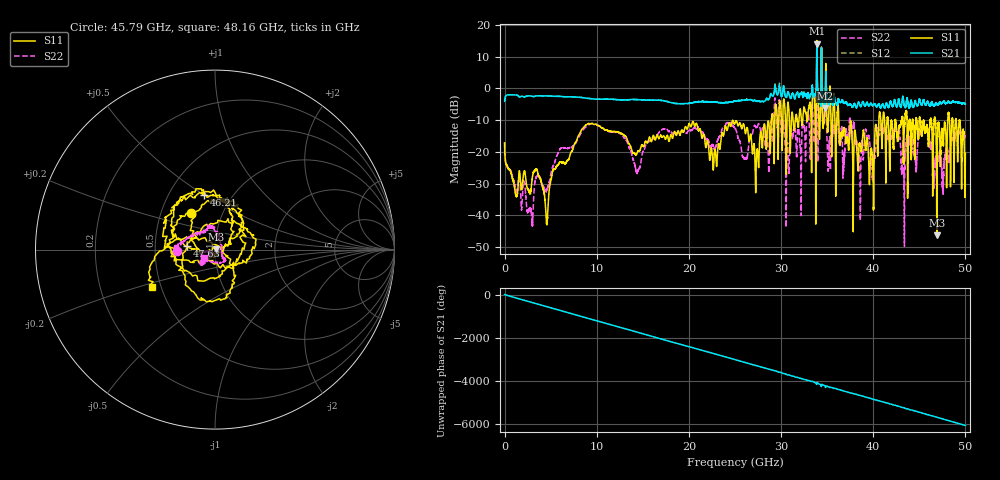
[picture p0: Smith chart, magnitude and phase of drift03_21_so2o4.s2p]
!Created with skrf (http://scikit-rf.org).
# Hz S RI R 50.0
!freq ReS11 ImS11 ReS21 ImS21 ReS12 ImS12 ReS22 ImS22
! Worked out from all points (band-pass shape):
!   10001 points, 300 kHz to 50 GHz, reference 50 ohm
!   highest |S21| = 14.16 dB at 33.88 GHz (marker M1); lowest = -6.3 dB at 34.79 GHz (marker M2)
!   |S21| within 3 dB of the highest: 33.8696 GHz to 33.889 GHz (19.4 MHz wide, 0.0573 % of centre); 34.37689 GHz to 34.39058 GHz (13.68 MHz wide, 0.0398 % of centre)
!   lowest |S11| = -46.3 dB at 46.9 GHz (marker M3), VSWR 1.01, Z = 50.5 + j0.0707 ohm
!   |S11| at or under -10 dB: start of sweep to 28.94 GHz; 36.27 GHz to 40.61 GHz (4.342 GHz wide, 11.3 % of centre); 46.74 GHz to 48.09 GHz (1.341 GHz wide, 2.83 % of centre) (the widest 3 of 54)
!   |S22| runs from -49.7 to 10.7 dB; largest |S21 - S12| = 0.82
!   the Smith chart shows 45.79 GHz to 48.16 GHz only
!   S11 on the Smith chart (normalised r, x): 45.79 GHz: 0.71, +0.31; 46.21 GHz: 0.74, +0.50; 47.63 GHz: 0.73, +0.03; 48.16 GHz: 0.44, -0.22
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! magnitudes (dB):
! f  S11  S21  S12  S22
! 300 kHz  -17.2  -4.0  -4.0  -17.0
! 2.825 GHz  -32.7  -2.4  -2.4  -38.4
! 4.565 GHz  -41.9  -2.3  -2.3  -32.0
! 8.335 GHz  -13.1  -2.8  -2.8  -13.9
! 14.43 GHz  -20.0  -3.5  -3.5  -26.4
! 16.67 GHz  -15.5  -3.7  -3.7  -14.3
! 22.82 GHz  -19.3  -4.3  -4.3  -19.0
! 25 GHz  -11.0  -4.0  -4.0  -12.6
! 27.39 GHz  -19.4  -4.1  -4.1  -12.3
! 29.6 GHz  -10.4  -2.0  -2.1  -11.7
! 30.7 GHz  -5.6  -1.4  -1.5  -17.1
! 33.34 GHz  -13.8  -0.5  -0.6  -7.3
! 33.88 GHz  15.1  14.2  13.8  10.7
! 34.79 GHz  -3.1  -6.3  -4.9  -8.6
! 39.81 GHz  -19.2  -5.0  -4.8  -23.8
! 41.67 GHz  -12.3  -6.0  -6.0  -15.3
! 45.79 GHz  -12.2  -5.0  -4.9  -13.5
! 46.21 GHz  -10.1  -5.4  -5.4  -18.2
! 46.9 GHz  -46.3  -4.9  -4.9  -22.4
! 47.63 GHz  -16.0  -4.1  -4.1  -26.9
! 48.16 GHz  -7.7  -4.0  -4.0  -22.7
! 50 GHz  -20.4  -4.9  -4.9  -15.2
